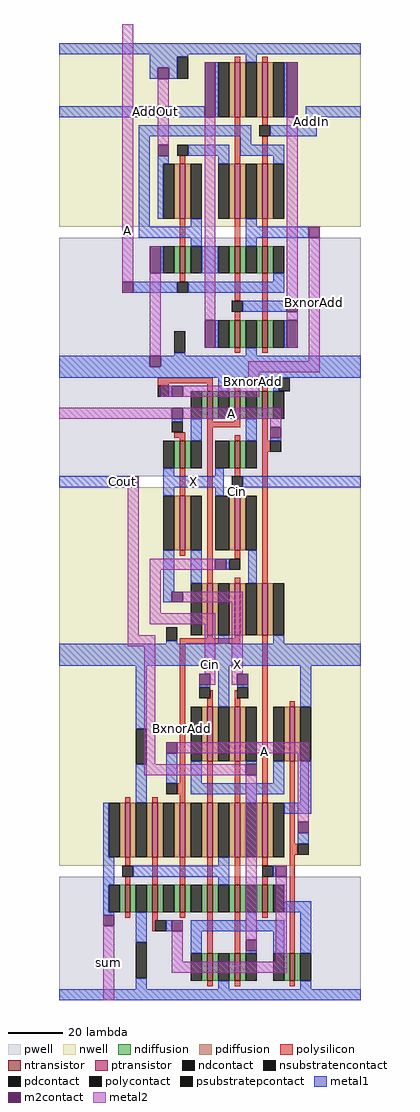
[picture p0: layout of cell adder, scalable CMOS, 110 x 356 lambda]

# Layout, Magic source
magic
tech scmos
<< pwell >>
rect 0 191 110 278
rect 0 0 110 45
<< nwell >>
rect 0 282 110 349
rect 0 49 110 187
<< polysilicon >>
rect 64 342 66 344
rect 74 342 76 344
rect 44 305 46 308
rect 64 305 66 322
rect 74 319 76 322
rect 74 305 76 315
rect 44 275 46 285
rect 64 275 66 285
rect 74 275 76 285
rect 44 262 46 265
rect 64 255 66 265
rect 64 248 66 251
rect 74 248 76 265
rect 64 236 66 238
rect 74 236 76 238
rect 36 225 56 227
rect 36 224 40 225
rect 54 222 56 225
rect 64 222 66 224
rect 74 222 76 224
rect 54 211 56 212
rect 64 211 66 212
rect 54 209 66 211
rect 42 205 46 207
rect 44 204 46 205
rect 44 184 46 194
rect 44 162 46 164
rect 54 152 56 209
rect 64 204 66 206
rect 74 204 76 212
rect 74 200 77 204
rect 64 191 66 194
rect 64 184 66 187
rect 64 161 66 164
rect 64 152 66 154
rect 74 152 76 200
rect 54 132 56 133
rect 64 132 66 133
rect 44 130 66 132
rect 44 79 46 130
rect 55 110 56 113
rect 54 107 56 110
rect 64 110 65 113
rect 64 107 66 110
rect 43 75 46 79
rect 24 72 26 74
rect 34 72 36 74
rect 44 72 46 75
rect 54 72 56 87
rect 64 72 66 87
rect 74 72 76 133
rect 84 107 86 109
rect 84 57 86 87
rect 84 53 87 57
rect 24 49 26 52
rect 24 42 26 45
rect 34 42 36 52
rect 44 42 46 52
rect 54 42 56 52
rect 64 42 66 52
rect 74 49 76 52
rect 74 42 76 45
rect 24 30 26 32
rect 34 29 36 32
rect 44 30 46 32
rect 34 25 35 29
rect 54 17 56 32
rect 64 17 66 32
rect 74 30 76 32
rect 84 17 86 53
rect 54 5 56 7
rect 64 5 66 7
rect 84 5 86 7
<< ndiffusion >>
rect 42 265 44 275
rect 46 265 48 275
rect 62 265 64 275
rect 66 265 68 275
rect 72 265 74 275
rect 76 265 78 275
rect 62 238 64 248
rect 66 238 68 248
rect 72 238 74 248
rect 76 238 78 248
rect 52 212 54 222
rect 56 212 58 222
rect 62 212 64 222
rect 66 212 68 222
rect 72 212 74 222
rect 76 212 78 222
rect 42 194 44 204
rect 46 194 48 204
rect 62 194 64 204
rect 66 194 68 204
rect 22 32 24 42
rect 26 32 28 42
rect 32 32 34 42
rect 36 32 38 42
rect 42 32 44 42
rect 46 32 48 42
rect 52 32 54 42
rect 56 32 58 42
rect 62 32 64 42
rect 66 32 68 42
rect 72 32 74 42
rect 76 32 78 42
rect 52 7 54 17
rect 56 7 58 17
rect 62 7 64 17
rect 66 7 68 17
rect 82 7 84 17
rect 86 7 88 17
<< pdiffusion >>
rect 62 322 64 342
rect 66 322 68 342
rect 72 322 74 342
rect 76 322 78 342
rect 42 285 44 305
rect 46 285 48 305
rect 62 285 64 305
rect 66 285 68 305
rect 72 285 74 305
rect 76 285 78 305
rect 42 164 44 184
rect 46 164 48 184
rect 62 164 64 184
rect 66 164 68 184
rect 52 133 54 152
rect 56 133 58 152
rect 62 133 64 152
rect 66 133 68 152
rect 72 133 74 152
rect 76 133 78 152
rect 52 87 54 107
rect 56 87 58 107
rect 62 87 64 107
rect 66 87 68 107
rect 82 87 84 107
rect 86 87 88 107
rect 22 52 24 72
rect 26 52 28 72
rect 32 52 34 72
rect 36 52 38 72
rect 42 52 44 72
rect 46 52 48 72
rect 52 52 54 72
rect 56 52 58 72
rect 62 52 64 72
rect 66 52 68 72
rect 72 52 74 72
rect 76 52 78 72
<< metal1 >>
rect 0 345 110 349
rect 33 344 47 345
rect 33 340 43 344
rect 33 336 36 340
rect 40 336 43 340
rect 68 342 72 345
rect 0 322 53 326
rect 57 322 58 342
rect 82 322 83 342
rect 90 322 110 326
rect 90 319 94 322
rect 29 315 70 319
rect 77 315 94 319
rect 29 282 33 315
rect 66 312 70 315
rect 47 308 62 312
rect 66 308 82 312
rect 36 305 40 308
rect 58 305 62 308
rect 78 305 82 308
rect 36 285 38 305
rect 48 282 52 285
rect 29 278 52 282
rect 48 275 52 278
rect 68 282 72 285
rect 68 278 91 282
rect 68 275 72 278
rect 37 265 38 275
rect 52 265 58 275
rect 78 262 82 265
rect 27 258 43 262
rect 47 258 82 262
rect 67 251 83 255
rect 57 238 58 248
rect 82 238 83 248
rect 42 235 46 236
rect 68 235 72 238
rect 0 231 33 235
rect 37 231 110 235
rect 0 227 110 231
rect 40 220 41 224
rect 58 222 62 227
rect 78 222 80 227
rect 41 211 45 212
rect 48 204 52 212
rect 68 204 72 212
rect 77 204 81 205
rect 38 191 42 194
rect 57 191 60 194
rect 0 187 25 191
rect 38 187 60 191
rect 67 187 110 191
rect 38 184 42 187
rect 57 184 60 187
rect 38 149 42 164
rect 48 152 52 164
rect 61 157 62 161
rect 69 152 72 164
rect 38 145 41 149
rect 39 130 43 131
rect 58 130 62 133
rect 78 130 82 133
rect 0 122 110 130
rect 28 99 32 122
rect 51 114 55 115
rect 58 107 62 122
rect 65 114 69 115
rect 88 107 92 122
rect 28 72 32 86
rect 39 79 43 90
rect 48 79 52 87
rect 68 86 72 87
rect 78 79 82 87
rect 48 75 82 79
rect 68 72 72 75
rect 88 72 92 87
rect 16 52 18 72
rect 82 68 92 72
rect 87 57 91 61
rect 16 42 20 52
rect 58 49 62 52
rect 27 45 62 49
rect 78 45 79 49
rect 58 42 62 45
rect 16 32 18 42
rect 82 32 92 36
rect 16 31 20 32
rect 28 21 32 32
rect 68 29 72 32
rect 39 25 41 29
rect 48 25 82 29
rect 28 4 32 8
rect 48 17 52 25
rect 68 17 72 18
rect 78 17 82 25
rect 88 17 92 32
rect 58 4 62 7
rect 88 4 92 7
rect 0 0 110 4
<< metal2 >>
rect 23 262 27 356
rect 36 312 40 336
rect 33 235 37 265
rect 53 248 57 322
rect 83 255 87 322
rect 83 248 87 251
rect 91 233 95 278
rect 69 229 95 233
rect 69 224 73 229
rect 37 220 41 224
rect 45 220 73 224
rect 0 212 41 216
rect 45 212 81 216
rect 77 209 81 212
rect 25 133 29 187
rect 33 157 57 161
rect 33 141 37 157
rect 45 145 67 149
rect 33 137 57 141
rect 25 129 35 133
rect 31 86 35 129
rect 53 119 57 137
rect 55 115 57 119
rect 63 119 67 145
rect 63 115 65 119
rect 43 90 91 94
rect 31 82 68 86
rect 16 0 20 27
rect 41 14 45 25
rect 68 22 72 82
rect 87 65 91 90
rect 79 14 83 45
rect 41 10 83 14
<< ntransistor >>
rect 44 265 46 275
rect 64 265 66 275
rect 74 265 76 275
rect 64 238 66 248
rect 74 238 76 248
rect 54 212 56 222
rect 64 212 66 222
rect 74 212 76 222
rect 44 194 46 204
rect 64 194 66 204
rect 24 32 26 42
rect 34 32 36 42
rect 44 32 46 42
rect 54 32 56 42
rect 64 32 66 42
rect 74 32 76 42
rect 54 7 56 17
rect 64 7 66 17
rect 84 7 86 17
<< ptransistor >>
rect 64 322 66 342
rect 74 322 76 342
rect 44 285 46 305
rect 64 285 66 305
rect 74 285 76 305
rect 44 164 46 184
rect 64 164 66 184
rect 54 133 56 152
rect 64 133 66 152
rect 74 133 76 152
rect 54 87 56 107
rect 64 87 66 107
rect 84 87 86 107
rect 24 52 26 72
rect 34 52 36 72
rect 44 52 46 72
rect 54 52 56 72
rect 64 52 66 72
rect 74 52 76 72
<< polycontact >>
rect 43 308 47 312
rect 73 315 77 319
rect 43 258 47 262
rect 63 251 67 255
rect 36 220 40 224
rect 41 207 45 211
rect 77 200 81 204
rect 63 187 67 191
rect 62 157 66 161
rect 51 110 55 114
rect 65 110 69 114
rect 39 75 43 79
rect 87 53 91 57
rect 23 45 27 49
rect 74 45 78 49
rect 35 25 39 29
<< ndcontact >>
rect 38 265 42 275
rect 48 265 52 275
rect 58 265 62 275
rect 68 265 72 275
rect 78 265 82 275
rect 58 238 62 248
rect 68 238 72 248
rect 78 238 82 248
rect 48 212 52 222
rect 58 212 62 222
rect 68 212 72 222
rect 78 212 82 222
rect 38 194 42 204
rect 48 194 52 204
rect 57 194 62 204
rect 68 194 72 204
rect 18 32 22 42
rect 28 32 32 42
rect 38 32 42 42
rect 48 32 52 42
rect 58 32 62 42
rect 68 32 72 42
rect 78 32 82 42
rect 48 7 52 17
rect 58 7 62 17
rect 68 7 72 17
rect 78 7 82 17
rect 88 7 92 17
<< pdcontact >>
rect 58 322 62 342
rect 68 322 72 342
rect 78 322 82 342
rect 38 285 42 305
rect 48 285 52 305
rect 58 285 62 305
rect 68 285 72 305
rect 78 285 82 305
rect 38 164 42 184
rect 48 164 52 184
rect 57 164 62 184
rect 68 164 72 184
rect 48 133 52 152
rect 58 133 62 152
rect 68 133 72 152
rect 78 133 82 152
rect 48 87 52 107
rect 58 87 62 107
rect 68 87 72 107
rect 78 87 82 107
rect 88 87 92 107
rect 18 52 22 72
rect 28 52 32 72
rect 38 52 42 72
rect 48 52 52 72
rect 58 52 62 72
rect 68 52 72 72
rect 78 52 82 72
<< m2contact >>
rect 36 336 40 340
rect 53 322 57 342
rect 83 322 87 342
rect 36 308 40 312
rect 91 278 95 282
rect 33 265 37 275
rect 23 258 27 262
rect 83 251 87 255
rect 53 238 57 248
rect 83 238 87 248
rect 33 231 37 235
rect 41 220 45 224
rect 41 212 45 216
rect 77 205 81 209
rect 25 187 29 191
rect 57 157 61 161
rect 41 145 45 149
rect 51 115 55 119
rect 65 115 69 119
rect 39 90 43 94
rect 68 82 72 86
rect 87 61 91 65
rect 79 45 83 49
rect 16 27 20 31
rect 41 25 45 29
rect 68 18 72 22
<< psubstratepcontact >>
rect 42 236 46 244
rect 80 222 84 227
rect 28 8 32 21
<< nsubstratencontact >>
rect 43 336 47 344
rect 39 131 43 136
rect 28 86 32 99
<< labels >>
rlabel polysilicon 44 72 46 126 1 BxnorAdd
rlabel metal2 31 82 35 126 1 Cout
rlabel metal2 53 119 57 126 5 Cin
rlabel metal2 63 119 67 126 5 X
rlabel metal2 16 0 20 27 3 sum
rlabel polysilicon 74 72 76 109 1 A
rlabel metal2 69 220 73 231 1 BxnorAdd
rlabel metal2 45 212 81 216 1 A
rlabel metal1 38 187 60 191 1 X
rlabel polysilicon 64 184 66 187 1 Cin
rlabel metal2 91 231 95 278 1 BxnorAdd
rlabel metal1 90 315 94 326 1 AddIn
rlabel metal1 21 187 25 191 3 Cout
rlabel metal1 17 322 53 326 1 AddOut
rlabel space 23 212 27 349 0 A
<< end >>
